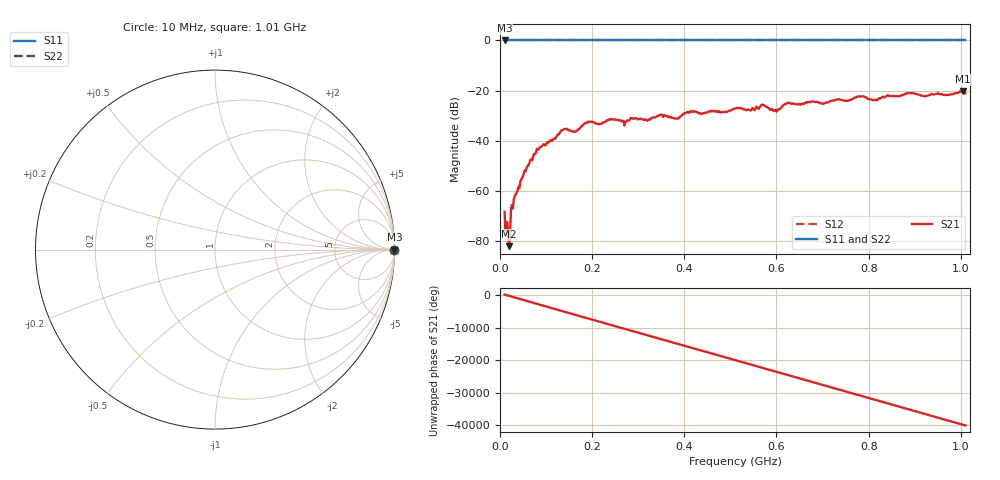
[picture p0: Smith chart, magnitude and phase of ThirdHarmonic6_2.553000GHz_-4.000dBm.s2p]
! 8/17/2025 5:13:48 AM
! C:\ANRITSUVNA\TEMP\TEMP.S2P
! CHANNEL.1
! TR.MEASUREMENT
! RAW.DATA
! RF.CORRECTION.OFF
! AVERAGING.OFF
! IF.BANDWIDTH: 5KHZ
! SWEEPTYPE:  FREQ.SWEEP(Linear)
! Reference Plane Port Info
! PORT:  PORT1  PORT2
! DISTANCE:  0  m  0  m
! TIME:  0  s  0  s
! PHASE.OFFSET:  0  deg.  0  deg.
! LOSS:  0  dB  0  dB
! REF.LOSS:  0  dB  0  dB
! REF.FREQ:  0  Hz  0  Hz
! Power Info
! POWER:  -20  dBm  -20  dBm
! EFF.POWER:  -20  dBm  -20  dBm
! SOURCE.ATTEN:  0  dB  0  dB
! TEST.ATTEN:  0  dB  0  dB
# GHZ S RI R 50.0
! FREQ.GHZ  S11RE  S11IM  S21RE  S21IM  S12RE  S12IM  S22RE  S22IM
!; PortSelection: Port_12
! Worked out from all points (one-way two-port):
!   501 points, 10 MHz to 1.01 GHz, reference 50 ohm
!   highest |S21| = -20.23 dB at 1.004 GHz (marker M1); lowest = -81.9 dB at 20 MHz (marker M2)
!   lowest |S11| = 0.0 dB at 10 MHz (marker M3)
!   |S11| at or under -10 dB: nowhere
!   |S22| runs from 0.0 to 0.0 dB; largest |S21 - S12| = 1.1
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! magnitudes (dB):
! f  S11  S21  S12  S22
! 10 MHz  0.0  -68.2  0.0  0.0
! 16 MHz  0.0  -72.3  0.0  0.0
! 20 MHz  0.0  -81.9  0.0  0.0
! 28 MHz  0.0  -66.9  0.0  0.0
! 34 MHz  0.0  -61.2  0.0  0.0
! 50 MHz  0.0  -53.9  0.0  0.0
! 76 MHz  0.0  -45.2  0.0  0.0
! 136 MHz  0.0  -35.6  0.0  0.0
! 162 MHz  0.0  -36.4  0.0  0.0
! 178 MHz  0.0  -34.0  0.0  0.0
! 344 MHz  0.0  -29.9  0.0  0.0
! 384 MHz  0.0  -31.1  0.0  0.0
! 410 MHz  0.0  -28.8  0.0  0.0
! 510 MHz  0.0  -27.1  0.0  0.0
! 570 MHz  0.0  -25.5  0.0  0.0
! 598 MHz  0.0  -27.7  0.0  0.0
! 624 MHz  0.0  -24.9  0.0  0.0
! 678 MHz  0.0  -24.3  0.0  0.0
! 814 MHz  0.0  -23.5  0.0  0.0
! 844 MHz  0.0  -22.0  0.0  0.0
! 1.004 GHz  0.0  -20.2  0.0  0.0
! 1.01 GHz  0.0  -21.0  0.0  0.0
